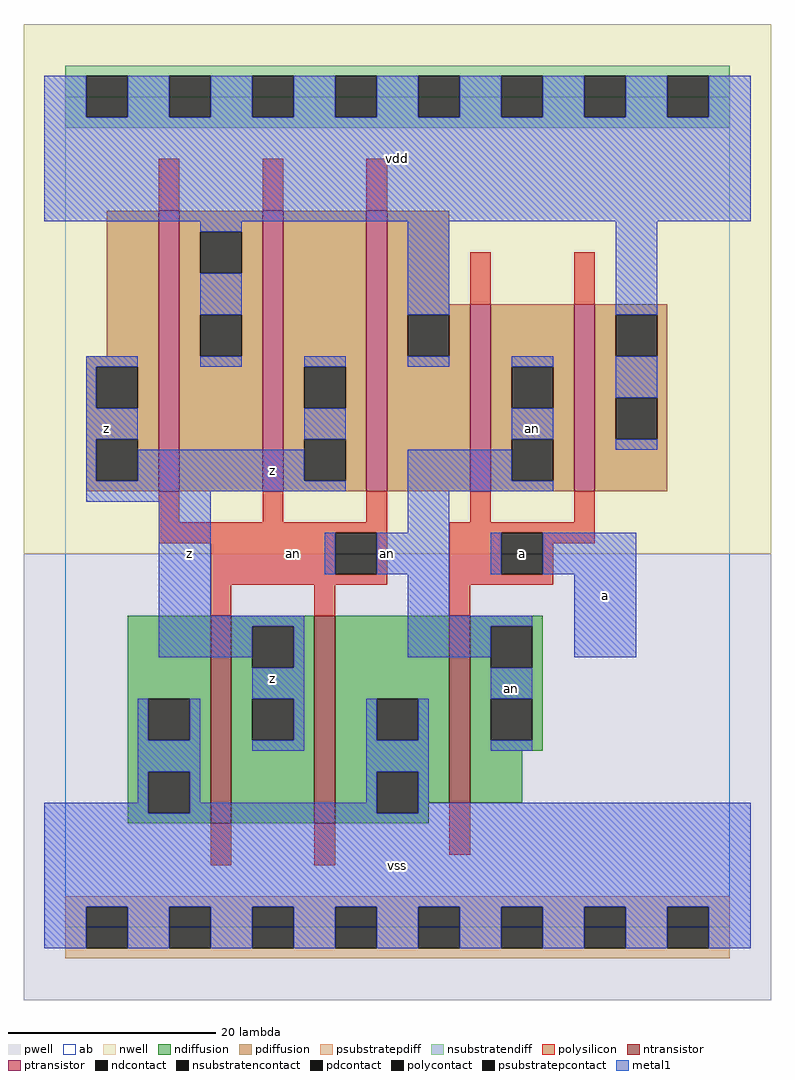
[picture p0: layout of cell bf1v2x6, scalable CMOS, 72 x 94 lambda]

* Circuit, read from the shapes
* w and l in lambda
.subckt bf1v2x6 a an vdd vss z
M1 z an vss vss nfet w=20 l=2 m=2
M2 an a vss vss nfet w=18 l=2
M3 vdd an z vdd pfet w=27 l=2 m=3
M4 an a vdd vdd pfet w=18 l=2 m=2
.ends

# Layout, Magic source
magic
tech scmos
<< ab >>
rect 0 0 64 80
<< pwell >>
rect -4 -7 68 36
<< nwell >>
rect -4 36 68 87
<< polysilicon >>
rect 9 69 11 74
rect 19 69 21 74
rect 29 69 31 74
rect 39 60 41 65
rect 49 60 51 65
rect 9 39 11 42
rect 19 39 21 42
rect 29 39 31 42
rect 39 39 41 42
rect 49 39 51 42
rect 9 38 31 39
rect 9 37 26 38
rect 14 34 26 37
rect 30 34 31 38
rect 14 33 31 34
rect 37 38 51 39
rect 37 34 42 38
rect 46 37 51 38
rect 46 34 47 37
rect 37 33 47 34
rect 14 30 16 33
rect 24 30 26 33
rect 37 30 39 33
rect 14 6 16 10
rect 24 6 26 10
rect 37 7 39 12
<< ndiffusion >>
rect 6 22 14 30
rect 6 18 8 22
rect 12 18 14 22
rect 6 15 14 18
rect 6 11 8 15
rect 12 11 14 15
rect 6 10 14 11
rect 16 29 24 30
rect 16 25 18 29
rect 22 25 24 29
rect 16 22 24 25
rect 16 18 18 22
rect 22 18 24 22
rect 16 10 24 18
rect 26 22 37 30
rect 26 18 30 22
rect 34 18 37 22
rect 26 15 37 18
rect 26 11 30 15
rect 34 12 37 15
rect 39 29 46 30
rect 39 25 41 29
rect 45 25 46 29
rect 39 22 46 25
rect 39 18 41 22
rect 45 18 46 22
rect 39 17 46 18
rect 39 12 44 17
rect 34 11 35 12
rect 26 10 35 11
<< pdiffusion >>
rect 4 55 9 69
rect 2 54 9 55
rect 2 50 3 54
rect 7 50 9 54
rect 2 47 9 50
rect 2 43 3 47
rect 7 43 9 47
rect 2 42 9 43
rect 11 67 19 69
rect 11 63 13 67
rect 17 63 19 67
rect 11 59 19 63
rect 11 55 13 59
rect 17 55 19 59
rect 11 42 19 55
rect 21 54 29 69
rect 21 50 23 54
rect 27 50 29 54
rect 21 47 29 50
rect 21 43 23 47
rect 27 43 29 47
rect 21 42 29 43
rect 31 60 37 69
rect 31 59 39 60
rect 31 55 33 59
rect 37 55 39 59
rect 31 42 39 55
rect 41 54 49 60
rect 41 50 43 54
rect 47 50 49 54
rect 41 47 49 50
rect 41 43 43 47
rect 47 43 49 47
rect 41 42 49 43
rect 51 59 58 60
rect 51 55 53 59
rect 57 55 58 59
rect 51 51 58 55
rect 51 47 53 51
rect 57 47 58 51
rect 51 42 58 47
<< metal1 >>
rect -2 78 2 82
rect 6 78 10 82
rect 14 78 18 82
rect 22 78 26 82
rect 30 78 34 82
rect 38 78 42 82
rect 46 78 50 82
rect 54 78 58 82
rect 62 78 66 82
rect -2 68 66 78
rect 13 67 17 68
rect 13 59 17 63
rect 33 59 37 68
rect 53 59 57 68
rect 2 54 7 55
rect 13 54 17 55
rect 23 54 27 55
rect 33 54 37 55
rect 43 54 47 55
rect 2 50 3 54
rect 2 47 7 50
rect 2 43 3 47
rect 23 47 27 50
rect 7 43 23 46
rect 43 47 47 50
rect 2 42 27 43
rect 33 43 43 46
rect 53 51 57 55
rect 53 46 57 47
rect 33 42 47 43
rect 2 41 14 42
rect 9 30 14 41
rect 33 38 37 42
rect 25 34 26 38
rect 30 34 37 38
rect 41 34 42 38
rect 46 34 55 38
rect 33 30 37 34
rect 9 29 23 30
rect 9 26 18 29
rect 22 25 23 29
rect 33 29 45 30
rect 33 26 41 29
rect 18 22 23 25
rect 49 26 55 34
rect 41 22 45 25
rect 7 18 8 22
rect 12 18 13 22
rect 7 15 13 18
rect 22 18 23 22
rect 18 17 23 18
rect 29 18 30 22
rect 34 18 35 22
rect 7 12 8 15
rect -2 11 8 12
rect 12 12 13 15
rect 29 15 35 18
rect 41 17 45 18
rect 29 12 30 15
rect 12 11 30 12
rect 34 12 35 15
rect 34 11 66 12
rect -2 2 66 11
rect -2 -2 2 2
rect 6 -2 10 2
rect 14 -2 18 2
rect 22 -2 26 2
rect 30 -2 34 2
rect 38 -2 42 2
rect 46 -2 50 2
rect 54 -2 58 2
rect 62 -2 66 2
<< ntransistor >>
rect 14 10 16 30
rect 24 10 26 30
rect 37 12 39 30
<< ptransistor >>
rect 9 42 11 69
rect 19 42 21 69
rect 29 42 31 69
rect 39 42 41 60
rect 49 42 51 60
<< polycontact >>
rect 26 34 30 38
rect 42 34 46 38
<< ndcontact >>
rect 8 18 12 22
rect 8 11 12 15
rect 18 25 22 29
rect 18 18 22 22
rect 30 18 34 22
rect 30 11 34 15
rect 41 25 45 29
rect 41 18 45 22
<< pdcontact >>
rect 3 50 7 54
rect 3 43 7 47
rect 13 63 17 67
rect 13 55 17 59
rect 23 50 27 54
rect 23 43 27 47
rect 33 55 37 59
rect 43 50 47 54
rect 43 43 47 47
rect 53 55 57 59
rect 53 47 57 51
<< psubstratepcontact >>
rect 2 -2 6 2
rect 10 -2 14 2
rect 18 -2 22 2
rect 26 -2 30 2
rect 34 -2 38 2
rect 42 -2 46 2
rect 50 -2 54 2
rect 58 -2 62 2
<< nsubstratencontact >>
rect 2 78 6 82
rect 10 78 14 82
rect 18 78 22 82
rect 26 78 30 82
rect 34 78 38 82
rect 42 78 46 82
rect 50 78 54 82
rect 58 78 62 82
<< psubstratepdiff >>
rect 0 2 64 3
rect 0 -2 2 2
rect 6 -2 10 2
rect 14 -2 18 2
rect 22 -2 26 2
rect 30 -2 34 2
rect 38 -2 42 2
rect 46 -2 50 2
rect 54 -2 58 2
rect 62 -2 64 2
rect 0 -3 64 -2
<< nsubstratendiff >>
rect 0 82 64 83
rect 0 78 2 82
rect 6 78 10 82
rect 14 78 18 82
rect 22 78 26 82
rect 30 78 34 82
rect 38 78 42 82
rect 46 78 50 82
rect 54 78 58 82
rect 62 78 64 82
rect 0 77 64 78
<< labels >>
rlabel polysilicon 22 36 22 36 6 an
rlabel metal1 12 36 12 36 6 z
rlabel metal1 4 48 4 48 6 z
rlabel metal1 20 24 20 24 6 z
rlabel metal1 20 44 20 44 6 z
rlabel metal1 32 6 32 6 6 vss
rlabel metal1 43 23 43 23 6 an
rlabel metal1 31 36 31 36 6 an
rlabel polycontact 44 36 44 36 6 a
rlabel metal1 45 48 45 48 6 an
rlabel metal1 32 74 32 74 6 vdd
rlabel metal1 52 32 52 32 6 a
<< end >>
